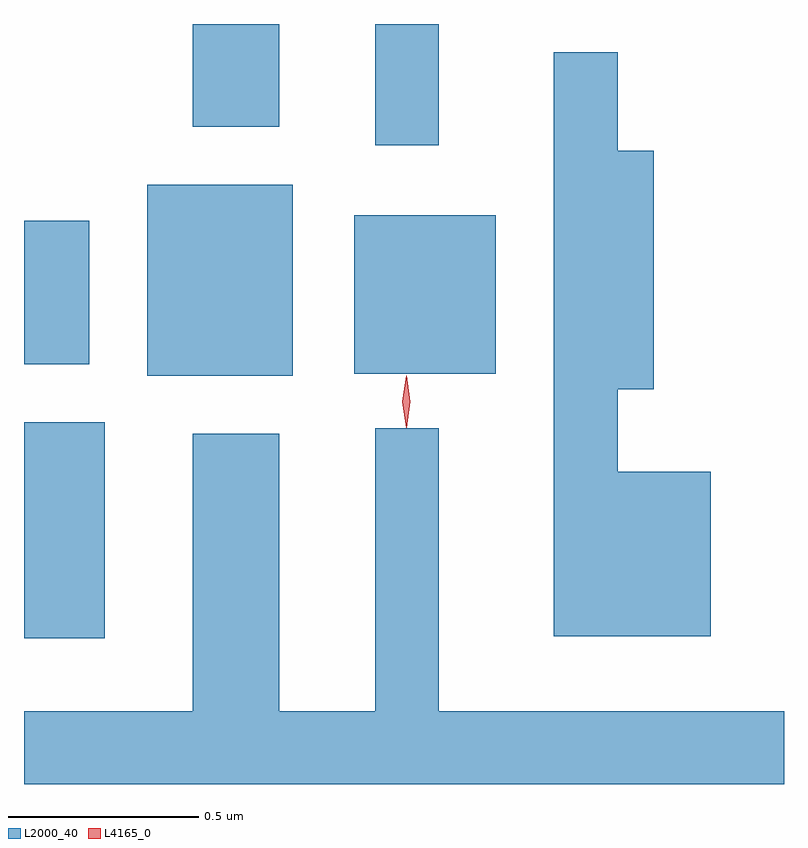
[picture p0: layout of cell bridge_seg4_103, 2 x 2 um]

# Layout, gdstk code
import gdstk
lib = gdstk.Library(unit=1e-6, precision=1e-09)
def R(c, l, rs):  # rectangles x0, y0, x1, y1
    for r in rs: c.add(gdstk.rectangle(r[:2], r[2:], *l))
def P(c, l, *ps):  # polygons
    for p in ps: c.add(gdstk.Polygon(p, *l))
L2000_40 = (2000, 40)
L4165_0 = (4165, 0)

bridge_seg4_103 = lib.new_cell('bridge_seg4_103')
R(bridge_seg4_103, L2000_40, [(776.827,1368.456,777.039,1369.024), (777.151,1369.146,777.534,1369.649), (777.696,1369.151,778.069,1369.569), (776.827,1369.176,776.999,1369.554), (777.751,1369.753,777.919,1370.072), (777.271,1369.801,777.499,1370.072)])
P(bridge_seg4_103, L2000_40, [(778.634,1368.894),(778.389,1368.894),(778.389,1369.111),(778.484,1369.111),(778.484,1369.739),(778.389,1369.739),(778.389,1369.998),(778.221,1369.998),(778.221,1368.461),(778.634,1368.461)],
  [(778.827,1368.264),(777.919,1368.264),(777.919,1369.008),(777.751,1369.008),(777.751,1368.264),(777.499,1368.264),(777.499,1368.994),(777.271,1368.994),(777.271,1368.264),(776.827,1368.264),(776.827,1368.072),(778.827,1368.072)])
P(bridge_seg4_103, L4165_0, [(777.833,1369.01),(777.833,1369.01),(777.823,1369.078),(777.833,1369.146),(777.833,1369.146),(777.834,1369.146),(777.843,1369.078),(777.834,1369.01)],
  [(777.833,1369.013),(777.823,1369.078),(777.833,1369.141),(777.834,1369.142),(777.834,1369.141),(777.844,1369.078),(777.834,1369.013),(777.834,1369.013)])

lib.write_gds('bridge_seg4_103.gds')
